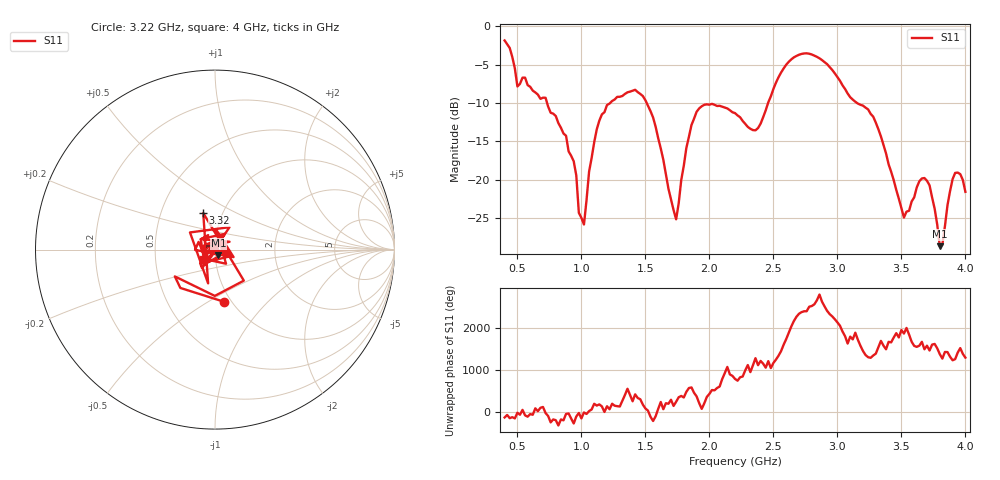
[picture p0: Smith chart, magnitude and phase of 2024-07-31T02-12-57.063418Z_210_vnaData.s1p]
!Created with skrf (http://scikit-rf.org).
# Hz S RI R 50.0
!freq ReS11 ImS11
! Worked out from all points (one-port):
!   181 points, 400 MHz to 4 GHz, reference 50 ohm
!   lowest |S11| = -28.6 dB at 3.8 GHz (marker M1), VSWR 1.08, Z = 51.8 - j3.28 ohm
!   |S11| at or under -10 dB: 732.2 MHz to 1.223 GHz (491.1 MHz wide, 50.2 % of centre); 1.511 GHz to 2.458 GHz (947.3 MHz wide, 47.7 % of centre); 3.155 GHz to end of sweep
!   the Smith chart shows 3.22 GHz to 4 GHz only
!   S11 on the Smith chart (normalised r, x): 3.22 GHz: 0.93, -0.59; 3.32 GHz: 0.81, +0.35; 4 GHz: 0.87, -0.09
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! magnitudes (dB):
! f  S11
! 400 MHz  -1.8
! 500 MHz  -7.8
! 720 MHz  -9.3
! 860 MHz  -14.0
! 940 MHz  -17.6
! 980 MHz  -24.3
! 1.02 GHz  -25.8
! 1.06 GHz  -18.9
! 1.12 GHz  -13.4
! 1.3 GHz  -9.2
! 1.5 GHz  -9.6
! 1.74 GHz  -25.1
! 1.76 GHz  -23.1
! 1.82 GHz  -15.8
! 1.9 GHz  -11.1
! 2.2 GHz  -11.3
! 2.38 GHz  -13.2
! 2.66 GHz  -4.0
! 2.88 GHz  -4.4
! 3.1 GHz  -9.2
! 3.22 GHz  -10.6
! 3.32 GHz  -13.4
! 3.52 GHz  -24.9
! 3.56 GHz  -24.0
! 3.7 GHz  -20.1
! 3.8 GHz  -28.6
! 3.92 GHz  -19.1
! 4 GHz  -21.6
